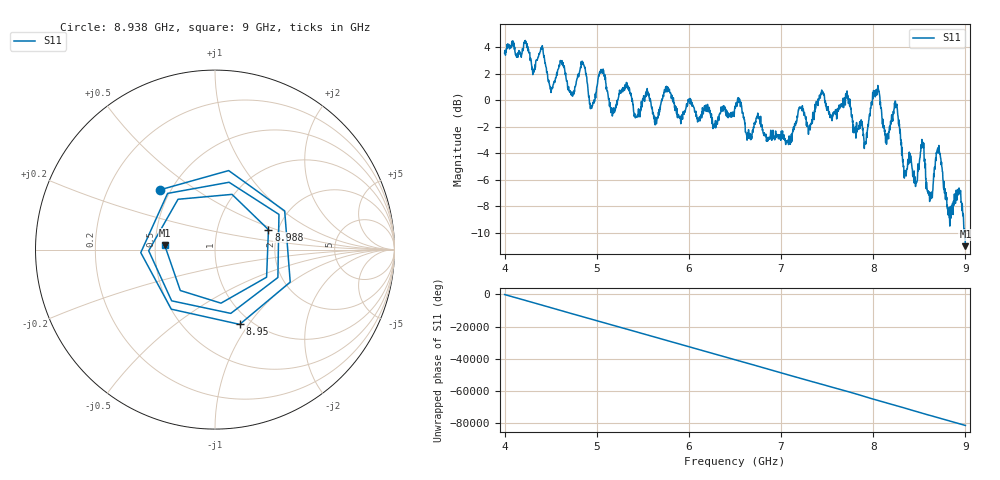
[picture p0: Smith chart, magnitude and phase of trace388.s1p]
! Created with skrf 1.8.0 (http://scikit-rf.org).
# Hz S RI R 50.0
!freq ReS11 ImS11
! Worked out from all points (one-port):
!   1601 points, 4 GHz to 9 GHz, reference 50 ohm
!   lowest |S11| = -11.0 dB at 9 GHz (marker M1), VSWR 1.78, Z = 28.1 + j1.47 ohm
!   |S11| at or under -10 dB: 8.992114 GHz to end of sweep
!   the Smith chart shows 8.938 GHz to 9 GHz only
!   S11 on the Smith chart (normalised r, x): 8.938 GHz: 0.44, +0.36; 8.95 GHz: 0.88, -0.91; 8.988 GHz: 1.78, +0.44; 9 GHz: 0.56, +0.03
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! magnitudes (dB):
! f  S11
! 4 GHz  3.6
! 4.403 GHz  3.8
! 4.506 GHz  0.7
! 4.625 GHz  2.7
! 4.728 GHz  0.5
! 4.853 GHz  2.7
! 4.944 GHz  -0.6
! 5.05 GHz  2.2
! 5.172 GHz  -1.1
! 5.25 GHz  0.6
! 5.875 GHz  -1.3
! 6.5 GHz  -0.5
! 7.125 GHz  -2.5
! 7.441 GHz  0.8
! 7.75 GHz  -0.5
! 7.909 GHz  -3.2
! 8.028 GHz  0.5
! 8.147 GHz  -3.1
! 8.244 GHz  -0.6
! 8.375 GHz  -4.5
! 8.534 GHz  -3.1
! 8.619 GHz  -7.3
! 8.709 GHz  -4.0
! 8.819 GHz  -8.3
! 8.938 GHz  -6.9
! 8.95 GHz  -7.2
! 8.988 GHz  -10.0
! 9 GHz  -11.0
